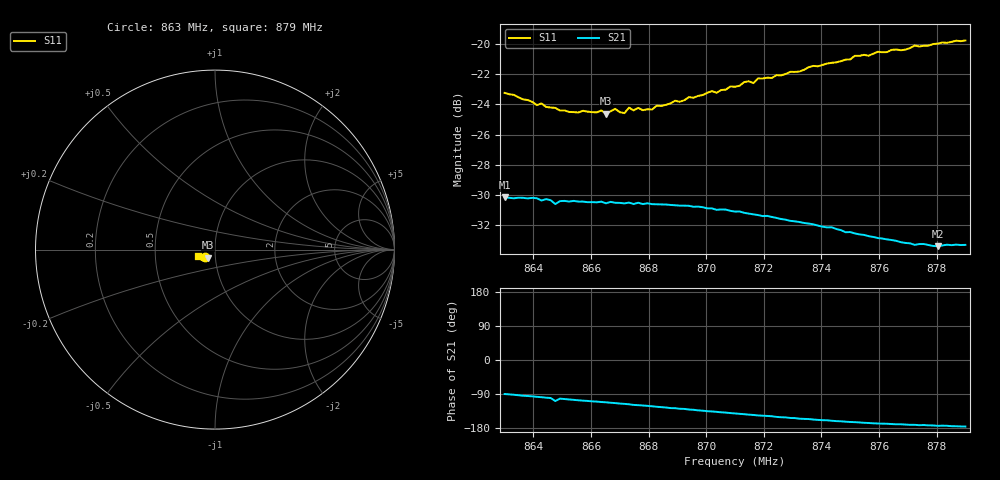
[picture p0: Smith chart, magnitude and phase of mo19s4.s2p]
# HZ S RI R 50
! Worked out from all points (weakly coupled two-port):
!   101 points, 863 MHz to 879 MHz, reference 50 ohm
!   highest |S21| = -30.14 dB at 863 MHz (marker M1); lowest = -33.4 dB at 878.04 MHz (marker M2)
!   lowest |S11| = -24.6 dB at 866.52 MHz (marker M3), VSWR 1.12, Z = 46.2 - j4.16 ohm
!   |S11| at or under -10 dB: start of sweep to end of sweep
!   S12 and S22 are empty: the file has one direction only
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8.63e8  -0.0535 -0.0433  0.000124 -0.0311  0 0  0 0
8.6428e8  -0.0468 -0.043  -0.00429 -0.0301  0 0  0 0
8.6444e8  -0.0458 -0.0415  -0.00504 -0.0303  0 0  0 0
8.6476e8  -0.0444 -0.0424  -0.00929 -0.0281  0 0  0 0
8.6492e8  -0.0439 -0.0412  -0.00626 -0.0296  0 0  0 0
8.6572e8  -0.041 -0.0439  -0.00892 -0.0288  0 0  0 0
8.6636e8  -0.0427 -0.0424  -0.0107 -0.0281  0 0  0 0
8.6652e8  -0.0378 -0.0449  -0.011 -0.0276  0 0  0 0
8.6684e8  -0.0394 -0.0465  -0.012 -0.0273  0 0  0 0
8.6716e8  -0.0367 -0.0462  -0.0129 -0.0267  0 0  0 0
8.6732e8  -0.0385 -0.0479  -0.0135 -0.0267  0 0  0 0
8.678e8  -0.0368 -0.0478  -0.0148 -0.0256  0 0  0 0
8.6844e8  -0.0365 -0.0505  -0.0166 -0.0243  0 0  0 0
8.71e8  -0.0432 -0.0577  -0.0217 -0.0176  0 0  0 0
8.7132e8  -0.0456 -0.0591  -0.0221 -0.0166  0 0  0 0
8.7164e8  -0.0449 -0.0589  -0.0224 -0.0156  0 0  0 0
8.718e8  -0.0478 -0.0601  -0.0226 -0.0151  0 0  0 0
8.7228e8  -0.0488 -0.0596  -0.0228 -0.014  0 0  0 0
8.7372e8  -0.0569 -0.0624  -0.0233 -0.00984  0 0  0 0
8.7644e8  -0.078 -0.0549  -0.0221 -0.00428  0 0  0 0
8.7804e8  -0.0885 -0.0467  -0.0213 -0.00233  0 0  0 0
8.79e8  -0.0951 -0.0382  -0.0216 -0.00165  0 0  0 0
